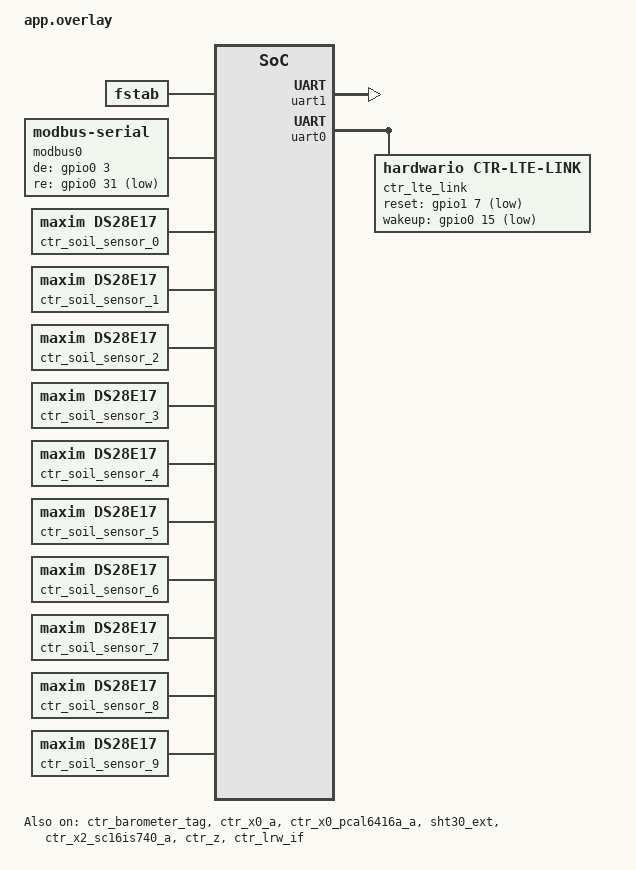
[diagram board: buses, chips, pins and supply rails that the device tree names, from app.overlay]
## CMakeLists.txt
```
#
# Copyright (c) 2024 HARDWARIO a.s.
#
# SPDX-License-Identifier: LicenseRef-HARDWARIO-5-Clause
#

cmake_minimum_required(VERSION 3.20.0)

set(ENV{FW_BUNDLE} "com.hardwario.chester.app.meteo.m")
set(ENV{FW_NAME} "CHESTER Meteo M")

# Derive firmware version from git (see scripts/version.cmake); the fallback is
# used when git is unavailable at build time.
set(FW_VERSION_FALLBACK "v3.0.2")
include(${CMAKE_CURRENT_SOURCE_DIR}/../../scripts/version.cmake)

find_package(Zephyr REQUIRED HINTS $ENV{ZEPHYR_BASE})

project(chester-meteo-m)

include(${ZEPHYR_CHESTER_MODULE_DIR}/scripts/app_codec.cmake)

target_sources(app PRIVATE src/app_cbor.c)
target_sources(app PRIVATE src/app_config.c)
target_sources(app PRIVATE src/app_data.c)
target_sources(app PRIVATE src/app_handler.c)
target_sources(app PRIVATE src/app_init.c)
target_sources(app PRIVATE src/app_lrw.c)
target_sources(app PRIVATE src/app_modbus.c)
target_sources(app PRIVATE src/app_send.c)
target_sources(app PRIVATE src/app_sensor.c)
target_sources(app PRIVATE src/app_shell.c)
target_sources(app PRIVATE src/app_work.c)
target_sources(app PRIVATE src/main.c)

target_precompile_headers(app PRIVATE src/feature.h)

# ### Preserved code "cmake" (begin)
# ^^^ Preserved code "cmake" (end)
```

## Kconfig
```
#
# Copyright (c) 2024 HARDWARIO a.s.
#
# SPDX-License-Identifier: LicenseRef-HARDWARIO-5-Clause
#

menu "Application"

# HARDWARE-CHESTER-BAROMETER-TAG
config SHIELD_CTR_BAROMETER_TAG
	bool "Enable SHIELD_CTR_BAROMETER_TAG"
	default y

config I2C
	default y

config SENSOR
	default y

config MPL3115A2
	default y
# HARDWARE-CHESTER-METEO-A
config SHIELD_CTR_A
	bool "Enable SHIELD_CTR_METEO_A"
	default y

config SHIELD_CTR_X0_A
	bool "Enable SHIELD_CTR_X0_A"
	default y

config CTR_METEO
	default y

config CTR_X0
	default y
# HARDWARE-CHESTER-S2
config SHIELD_CTR_S2
	bool "Enable SHIELD_CTR_S2"
	default y

config CTR_HYGRO
	default y
# HARDWARE-CHESTER-X2-MODBUS-A
config SHIELD_CTR_X2_MODBUS_A
	bool "Enable SHIELD_X2_MODBUS_A"
	default y

config GPIO
	default y

config I2C
	default y

config MODBUS
	default y

config MODBUS_BUFFER_SIZE
	default 64

config PM_DEVICE
	default y

config SERIAL
	default y

config UART_0_INTERRUPT_DRIVEN
	default n

config UART_ASYNC_API
	default y

config UART_INTERRUPT_DRIVEN
	default y

config UART_LINE_CTRL
	default n

config UART_SC16IS7XX
	default y

config I2C
	default y
# HARDWARE-CHESTER-Z
config SHIELD_CTR_Z
	bool "Enable SHIELD_CTR_Z"
	default y

config CTR_Z
	default y

config I2C
	default y
# SUBSYSTEM-DS18B20
config SHIELD_CTR_DS18B20
	bool "Enable SHIELD_CTR_DS18B20"
	default y

config CTR_DS18B20
	default y
# SUBSYSTEM-LRW
config SHIELD_CTR_LRW
	bool "Enable SHIELD_CTR_LRW"
	default y

config CTR_LRW
	default y
# SUBSYSTEM-LTE-V2
config SHIELD_CTR_LTE_V2
	bool "Enable SHIELD_CTR_LTE_V2"
	default y

config CTR_LTE_V2
	default y
# SUBSYSTEM-SOIL-SENSOR
config SHIELD_CTR_SOIL_SENSOR
	bool "Enable SHIELD_CTR_SOIL_SENSOR"
	default y

config CTR_SOIL_SENSOR
	default y

# ### Preserved code "k_config" (begin)

config APP_PYRANOMETER
	bool "Enable 0-10 V pyranometer on analog input B0"
	select CTR_ADC

# ^^^ Preserved code "k_config" (end)

rsource "Kconfig.variant"

endmenu

menu "Zephyr Kernel"
source "Kconfig.zephyr"
endmenu
```

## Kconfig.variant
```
#
# Copyright (c) 2024 HARDWARIO a.s.
#
# SPDX-License-Identifier: LicenseRef-HARDWARIO-5-Clause
#

config VARIANT_CHESTER_METEO_M
    bool "Enable VARIANT_CHESTER_METEO_M"
    default y
        
```

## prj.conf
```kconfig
#
# Copyright (c) 2024 HARDWARIO a.s.
#
# SPDX-License-Identifier: LicenseRef-HARDWARIO-5-Clause
#

# Configurations
# SUBSYSTEM-ACCEL
CONFIG_CTR_ACCEL=y
# SUBSYSTEM-BATT
CONFIG_CTR_BATT=y
# SUBSYSTEM-BLE-TAG
CONFIG_CTR_BLE_TAG=y
# SUBSYSTEM-BLUETOOTH
CONFIG_CTR_BLE=y
# SUBSYSTEM-BT-FILTER-ACCEPT-LIST
CONFIG_BT_FILTER_ACCEPT_LIST=y
# SUBSYSTEM-BT-OBSERVER
CONFIG_BT_OBSERVER=y
# SUBSYSTEM-BUF
CONFIG_CTR_BUF=y
# SUBSYSTEM-BUTTON
CONFIG_CTR_BUTTON=y
# SUBSYSTEM-CBPRINTF-FP-SUPPORT
CONFIG_CBPRINTF_FP_SUPPORT=y
# SUBSYSTEM-CLOUD
CONFIG_CTR_CLOUD=y
CONFIG_SETTINGS_SHELL=y
CONFIG_IMG_MANAGER=y
CONFIG_BOOTLOADER_MCUBOOT=y
CONFIG_SPI=y
CONFIG_DFU_TARGET=y
CONFIG_DFU_TARGET_STREAM=y
CONFIG_DFU_TARGET_MCUBOOT=y
CONFIG_DFU_TARGET_LOG_LEVEL_DBG=y
CONFIG_STREAM_FLASH_ERASE=y
CONFIG_STREAM_FLASH=y
CONFIG_FILE_SYSTEM=y
CONFIG_FILE_SYSTEM_LITTLEFS=y
CONFIG_FILE_SYSTEM_MKFS=y
CONFIG_FILE_SYSTEM_SHELL=y
CONFIG_SETTINGS_FILE=y
CONFIG_SETTINGS_FILE_PATH="/lfs1/settings/run"
# SUBSYSTEM-DEFAULTS
CONFIG_CTR_DEFAULTS=y
# SUBSYSTEM-DS18B20
CONFIG_CTR_DS18B20=y
# SUBSYSTEM-ENTROPY-GENERATOR
CONFIG_ENTROPY_GENERATOR=y
# SUBSYSTEM-FLASH
CONFIG_CTR_FLASH=y
# SUBSYSTEM-INFO
CONFIG_CTR_INFO=y
# SUBSYSTEM-LED
CONFIG_CTR_LED=y
# SUBSYSTEM-LOG
CONFIG_CTR_LOG=y
# SUBSYSTEM-LRW
CONFIG_CTR_LRW=y
# SUBSYSTEM-LTE-V2
CONFIG_CTR_LTE_V2=y
# SUBSYSTEM-POWER
CONFIG_CTR_POWER=y
# SUBSYSTEM-RTC
CONFIG_CTR_RTC=y
# SUBSYSTEM-SHELL
CONFIG_CTR_SHELL=y
# SUBSYSTEM-SOIL-SENSOR
CONFIG_CTR_SOIL_SENSOR=y
# SUBSYSTEM-THERM
CONFIG_CTR_THERM=y
# SUBSYSTEM-WDOG
CONFIG_CTR_WDOG=y
# SUBSYSTEM-ZCBOR
CONFIG_ZCBOR=y
CONFIG_ZCBOR_STOP_ON_ERROR=y
# Extra configurations
CONFIG_GPIO_SHELL=y
CONFIG_I2C_SHELL=y
CONFIG_ISR_TABLES_LOCAL_DECLARATION=y
CONFIG_LTO=y
CONFIG_MCUBOOT_SHELL=y
CONFIG_MODBUS_SERIAL=y

# ### Preserved code "config" (begin)
CONFIG_BUILD_OUTPUT_META=y
CONFIG_BUILD_OUTPUT_META_STATE_PROPAGATE=y
CONFIG_CTR_GPIO=y
CONFIG_CTR_CLOUD_SPOOL=y
# ^^^ Preserved code "config" (end)
```

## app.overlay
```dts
/*
 * Copyright (c) 2024 HARDWARIO a.s.
 *
 * SPDX-License-Identifier: LicenseRef-HARDWARIO-5-Clause
 */

/* HARDWARE-CHESTER-BAROMETER-TAG   */
&ctr_barometer_tag {
	status = "okay";
};
/* HARDWARE-CHESTER-METEO-A  */
&ctr_x0_a {
	status = "okay";

	ctr_meteo_a: ctr_meteo_a {
		compatible = "hardwario,ctr-meteo";
		slot = "A";
		status = "okay";
	};
};

&ctr_x0_pcal6416a_a {
	status = "okay";
};
/* HARDWARE-CHESTER-S2  */
&sht30_ext {
	status = "okay";
};
/* HARDWARE-CHESTER-X2-MODBUS-A  */
&ctr_x2_sc16is740_a {
	status = "okay";
	rts-control;

	modbus0 {
		compatible = "zephyr,modbus-serial";
		status = "okay";
		de-gpios = <&gpio0 3 GPIO_ACTIVE_HIGH>;
		re-gpios = <&gpio0 31 GPIO_ACTIVE_LOW>;
	};
};
/* HARDWARE-CHESTER-Z  */
&ctr_z {
	status = "okay";
};
/* SUBSYSTEM-CLOUD  */
/ {
	fstab {
		compatible = "zephyr,fstab";
		lfs1: lfs1 {
			compatible = "zephyr,fstab,littlefs";
			mount-point = "/lfs1";
			partition = <&littlefs_storage>;
			automount;
			read-size = <16>;
			prog-size = <16>;
			cache-size = <64>;
			lookahead-size = <32>;
			block-cycles = <512>;
		};
	};
};
/* SUBSYSTEM-DS18B20  */
&ds2484 {
	ds18b20_0: ds18b20_0 {
		compatible = "maxim,ds18b20";
		resolution = <12>;
		family-code = <0x28>;
	};

	ds18b20_1: ds18b20_1 {
		compatible = "maxim,ds18b20";
		resolution = <12>;
		family-code = <0x28>;
	};

	ds18b20_2: ds18b20_2 {
		compatible = "maxim,ds18b20";
		resolution = <12>;
		family-code = <0x28>;
	};

	ds18b20_3: ds18b20_3 {
		compatible = "maxim,ds18b20";
		resolution = <12>;
		family-code = <0x28>;
	};

	ds18b20_4: ds18b20_4 {
		compatible = "maxim,ds18b20";
		resolution = <12>;
		family-code = <0x28>;
	};

	ds18b20_5: ds18b20_5 {
		compatible = "maxim,ds18b20";
		resolution = <12>;
		family-code = <0x28>;
	};

	ds18b20_6: ds18b20_6 {
		compatible = "maxim,ds18b20";
		resolution = <12>;
		family-code = <0x28>;
	};

	ds18b20_7: ds18b20_7 {
		compatible = "maxim,ds18b20";
		resolution = <12>;
		family-code = <0x28>;
	};

	ds18b20_8: ds18b20_8 {
		compatible = "maxim,ds18b20";
		resolution = <12>;
		family-code = <0x28>;
	};

	ds18b20_9: ds18b20_9 {
		compatible = "maxim,ds18b20";
		resolution = <12>;
		family-code = <0x28>;
	};
};
/* SUBSYSTEM-LRW   */
&ctr_lrw_if {
	status = "okay";
};

&uart1 {
	status = "okay";
};
/* SUBSYSTEM-LTE-V2  */
/ {
	chosen {
		ctr,lte_link = &ctr_lte_link;
	};
};

&uart0 {
	status = "okay";

	ctr_lte_link: ctr_lte_link {
		compatible = "hardwario,ctr-lte-link";
		status = "okay";
		reset-gpios = <&gpio1 7 (GPIO_ACTIVE_LOW | GPIO_OPEN_DRAIN)>;
		wakeup-gpios = <&gpio0 15 (GPIO_ACTIVE_LOW | GPIO_OPEN_DRAIN)>;
	};
};

&uart0 {
	status = "okay";
};
/* SUBSYSTEM-SOIL-SENSOR  */
&ds2484 {
	ctr_soil_sensor_0: ctr_soil_sensor_0 {
		compatible = "maxim,ds28e17";
		family-code = <0x19>;
	};
	ctr_soil_sensor_1: ctr_soil_sensor_1 {
		compatible = "maxim,ds28e17";
		family-code = <0x19>;
	};
	ctr_soil_sensor_2: ctr_soil_sensor_2 {
		compatible = "maxim,ds28e17";
		family-code = <0x19>;
	};
	ctr_soil_sensor_3: ctr_soil_sensor_3 {
		compatible = "maxim,ds28e17";
		family-code = <0x19>;
	};
	ctr_soil_sensor_4: ctr_soil_sensor_4 {
		compatible = "maxim,ds28e17";
		family-code = <0x19>;
	};
	ctr_soil_sensor_5: ctr_soil_sensor_5 {
		compatible = "maxim,ds28e17";
		family-code = <0x19>;
	};
	ctr_soil_sensor_6: ctr_soil_sensor_6 {
		compatible = "maxim,ds28e17";
		family-code = <0x19>;
	};
	ctr_soil_sensor_7: ctr_soil_sensor_7 {
		compatible = "maxim,ds28e17";
		family-code = <0x19>;
	};
	ctr_soil_sensor_8: ctr_soil_sensor_8 {
		compatible = "maxim,ds28e17";
		family-code = <0x19>;
	};
	ctr_soil_sensor_9: ctr_soil_sensor_9 {
		compatible = "maxim,ds28e17";
		family-code = <0x19>;
	};
};

/* ### Preserved code "overlay" (begin) */
/* ^^^ Preserved code "overlay" (end) */
```

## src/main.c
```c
/*
 * Copyright (c) 2024 HARDWARIO a.s.
 *
 * SPDX-License-Identifier: LicenseRef-HARDWARIO-5-Clause
 */

#include "app_init.h"
#include "app_config.h"

/* CHESTER includes */
#include <chester/ctr_led.h>
#include <chester/ctr_wdog.h>

/* Zephyr includes */
#include <zephyr/kernel.h>
#include <zephyr/logging/log.h>

/* Standard includes */
#include <stdbool.h>

LOG_MODULE_REGISTER(main, LOG_LEVEL_DBG);

extern struct ctr_wdog_channel g_app_wdog_channel;

int main(void)
{
	int ret;

	LOG_INF("Build time: " __DATE__ " " __TIME__);

	ret = app_init();
	if (ret) {
		LOG_ERR("Call `app_init` failed: %d", ret);
		k_oops();
	}

	for (;;) {
		LOG_INF("Alive");

		ret = ctr_wdog_feed(&g_app_wdog_channel);
		if (ret) {
			LOG_ERR("Call `ctr_wdog_feed` failed: %d", ret);
			k_oops();
		}

		if (g_app_config.mode == APP_CONFIG_MODE_NONE) {
			ctr_led_set(CTR_LED_CHANNEL_Y, true);
			k_sleep(K_MSEC(30));
			ctr_led_set(CTR_LED_CHANNEL_Y, false);
		} else {
			ctr_led_set(CTR_LED_CHANNEL_G, true);
			k_sleep(K_MSEC(30));
			ctr_led_set(CTR_LED_CHANNEL_G, false);
		}

		k_sleep(K_SECONDS(5));
	}

	return 0;
}
```

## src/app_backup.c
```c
/*
 * Copyright (c) 2024 HARDWARIO a.s.
 *
 * SPDX-License-Identifier: LicenseRef-HARDWARIO-5-Clause
 */

#include "app_backup.h"
#include "app_config.h"
#include "app_data.h"
#include "app_work.h"
#include "feature.h"

/* CHESTER includes */
#include <chester/ctr_rtc.h>
#include <chester/drivers/ctr_z.h>
#include <chester/drivers/ctr_x10.h>

/* Zephyr includes */
#include <zephyr/device.h>
#include <zephyr/devicetree.h>
#include <zephyr/kernel.h>
#include <zephyr/logging/log.h>

/* Standard includes */
#include <errno.h>
#include <math.h>
#include <stdbool.h>

LOG_MODULE_REGISTER(app_backup, LOG_LEVEL_DBG);

#if defined(FEATURE_HARDWARE_CHESTER_Z)

void handler_ctr_z(const struct device *dev, enum ctr_z_event backup_event, void *param)
{
	int ret;

	if (backup_event != CTR_Z_EVENT_DC_CONNECTED &&
	    backup_event != CTR_Z_EVENT_DC_DISCONNECTED) {
		return;
	}

	struct app_data_backup *backup = &g_app_data.backup;

	app_work_backup_update();

	app_data_lock();

	backup->line_present = backup_event == CTR_Z_EVENT_DC_CONNECTED;

	if (backup->event_count < APP_DATA_MAX_BACKUP_EVENTS) {
		struct app_data_backup_event *event = &backup->events[backup->event_count];

		ret = ctr_rtc_get_ts(&event->timestamp);
		if (ret) {
			LOG_ERR("Call `ctr_rtc_get_ts` failed: %d", ret);
			app_data_unlock();
			return;
		}

		event->connected = backup->line_present;
		backup->event_count++;

		LOG_INF("Event count: %d", backup->event_count);
	} else {
		LOG_WRN("Measurement full");
		app_data_unlock();
		return;
	}

	LOG_INF("Backup: %d", (int)backup->line_present);

	if (g_app_config.backup_report_connected && backup_event == CTR_Z_EVENT_DC_CONNECTED) {
		app_work_send_with_rate_limit();
	}

	if (g_app_config.backup_report_disconnected &&
	    backup_event == CTR_Z_EVENT_DC_DISCONNECTED) {
		app_work_send_with_rate_limit();
	}

	app_data_unlock();
}

int app_backup_init(void)
{
	int ret;

	static const struct device *dev = DEVICE_DT_GET(DT_NODELABEL(ctr_z));

	if (!device_is_ready(dev)) {
		LOG_ERR("Device not ready");
		return -ENODEV;
	}

	ret = ctr_z_set_handler(dev, handler_ctr_z, NULL);
	if (ret) {
		LOG_ERR("Call `ctr_z_set_handler` failed: %d", ret);
		return ret;
	}

	ret = ctr_z_enable_interrupts(dev);
	if (ret) {
		LOG_ERR("Call `ctr_z_enable_interrupts` failed: %d", ret);
		return ret;
	}

	uint32_t serial_number;
	ret = ctr_z_get_serial_number(dev, &serial_number);
	if (ret) {
		LOG_ERR("Call `ctr_z_get_serial_number` failed: %d", ret);
		return ret;
	}

	LOG_INF("Serial number: %08x", serial_number);

	uint16_t hw_revision;
	ret = ctr_z_get_hw_revision(dev, &hw_revision);
	if (ret) {
		LOG_ERR("Call `ctr_z_get_hw_revision` failed: %d", ret);
		return ret;
	}

	LOG_INF("HW revision: %04x", hw_revision);

	uint32_t hw_variant;
	ret = ctr_z_get_hw_variant(dev, &hw_variant);
	if (ret) {
		LOG_ERR("Call `ctr_z_get_hw_variant` failed: %d", ret);
		return ret;
	}

	LOG_INF("HW variant: %08x", hw_variant);

	uint32_t fw_version;
	ret = ctr_z_get_fw_version(dev, &fw_version);
	if (ret) {
		LOG_ERR("Call `ctr_z_get_fw_version` failed: %d", ret);
		return ret;
	}

	LOG_INF("FW version: %08x", fw_version);

	char vendor_name[32];
	ret = ctr_z_get_vendor_name(dev, vendor_name, sizeof(vendor_name));
	if (ret) {
		LOG_ERR("Call `ctr_z_get_vendor_name` failed: %d", ret);
		return ret;
	}

	LOG_INF("Vendor name: %s", vendor_name);

	char product_name[32];
	ret = ctr_z_get_product_name(dev, product_name, sizeof(product_name));
	if (ret) {
		LOG_ERR("Call `ctr_z_get_product_name` failed: %d", ret);
		return ret;
	}

	LOG_INF("Product name: %s", product_name);

	return 0;
}

int app_backup_sample(void)
{
	int ret;

	static const struct device *dev = DEVICE_DT_GET(DT_NODELABEL(ctr_z));

	if (!device_is_ready(dev)) {
		LOG_ERR("Device not ready");
		ret = -ENODEV;
		goto error;
	}

	struct ctr_z_status status;
	ret = ctr_z_get_status(dev, &status);
	if (ret) {
		LOG_ERR("Call `ctr_z_get_status` failed: %d", ret);
		goto error;
	}

	LOG_INF("DC input connected: %d", status.dc_input_connected);

	uint16_t vdc;
	ret = ctr_z_get_vdc_mv(dev, &vdc);
	if (ret) {
		LOG_ERR("Call `ctr_z_get_vdc_mv` failed: %d", ret);
		goto error;
	}

	LOG_INF("Voltage DC input: %u mV", vdc);

	uint16_t vbat;
	ret = ctr_z_get_vbat_mv(dev, &vbat);
	if (ret) {
		LOG_ERR("Call `ctr_z_get_vbat_mv` failed: %d", ret);
		goto error;
	}

	LOG_INF("Voltage backup battery: %u mV", vbat);

	app_data_lock();
	g_app_data.backup.line_present = status.dc_input_connected;
	g_app_data.backup.line_voltage = vdc / 1000.f;
	g_app_data.backup.battery_voltage = vbat / 1000.f;
	app_data_unlock();

	return 0;

error:
	app_data_lock();
	g_app_data.backup.line_present = false;
	g_app_data.backup.line_voltage = NAN;
	g_app_data.backup.battery_voltage = NAN;
	app_data_unlock();

	return ret;
}

#endif /* defined(FEATURE_HARDWARE_CHESTER_Z) */

#if defined(FEATURE_HARDWARE_CHESTER_X10)

static void handler_ctr_x10(const struct device *dev, enum ctr_x10_event backup_event,
			    void *user_data)
{
	int ret;

	if (backup_event != CTR_X10_EVENT_LINE_CONNECTED &&
	    backup_event != CTR_X10_EVENT_LINE_DISCONNECTED) {
		return;
	}

	struct app_data_backup *backup = &g_app_data.backup;

	app_work_backup_update();

	app_data_lock();

	backup->line_present = backup_event == CTR_X10_EVENT_LINE_CONNECTED;

	if (backup->event_count < APP_DATA_MAX_BACKUP_EVENTS) {
		struct app_data_backup_event *event = &backup->events[backup->event_count];

		ret = ctr_rtc_get_ts(&event->timestamp);
		if (ret) {
			LOG_ERR("Call `ctr_rtc_get_ts` failed: %d", ret);
			app_data_unlock();
			return;
		}

		event->connected = backup->line_present;
		backup->event_count++;

		LOG_INF("Event count: %d", backup->event_count);
	} else {
		LOG_WRN("Measurement full");
		app_data_unlock();
		return;
	}

	LOG_INF("Backup: %d", (int)backup->line_present);

	if (g_app_config.backup_report_connected && backup_event == CTR_X10_EVENT_LINE_CONNECTED) {
		app_work_send_with_rate_limit();
	}

	if (g_app_config.backup_report_disconnected &&
	    backup_event == CTR_X10_EVENT_LINE_DISCONNECTED) {
		app_work_send_with_rate_limit();
	}

	app_data_unlock();
}

int app_backup_init(void)
{
	int ret;

	static const struct device *dev = DEVICE_DT_GET(DT_NODELABEL(ctr_x10));

	if (!device_is_ready(dev)) {
		LOG_ERR("Device not ready");
		return -ENODEV;
	}

	ret = ctr_x10_set_handler(dev, handler_ctr_x10, NULL);
	if (ret) {
		LOG_ERR("Call `ctr_z_set_handler` failed: %d", ret);
		return ret;
	}

	return 0;
}

int app_backup_sample(void)
{
	int ret;

	static const struct device *dev = DEVICE_DT_GET(DT_NODELABEL(ctr_x10));

	if (!device_is_ready(dev)) {
		LOG_ERR("Device not ready");
		ret = -ENODEV;
		goto error;
	}

	bool dc_input_connected;
	ret = ctr_x10_get_line_present(dev, &dc_input_connected);
	if (ret) {
		LOG_ERR("Call `ctr_x10_get_line_present` failed: %d", ret);
	} else {
		LOG_INF("Line present: %d", dc_input_connected);
	}

	int line_voltage_mv;
	ret = ctr_x10_get_line_voltage(dev, &line_voltage_mv);
	if (ret) {
		LOG_ERR("Call `ctr_x10_get_line_voltage` failed: %d", ret);
		goto error;
	} else {
		LOG_INF("Line voltage: %d mv", line_voltage_mv);
	}

	int battery_voltage_mv;
	ret = ctr_x10_get_battery_voltage(dev, &battery_voltage_mv);
	if (ret) {
		LOG_ERR("Call `ctr_x10_get_battery_voltage` failed: %d", ret);
		goto error;
	} else {
		LOG_INF("Battery voltage: %d mv", battery_voltage_mv);
	}

	app_data_lock();
	g_app_data.backup.line_present = dc_input_connected;
	g_app_data.backup.line_voltage = line_voltage_mv / 1000.f;
	g_app_data.backup.battery_voltage = battery_voltage_mv / 1000.f;
	app_data_unlock();

	return 0;

error:
	app_data_lock();
	g_app_data.backup.line_present = false;
	g_app_data.backup.line_voltage = NAN;
	g_app_data.backup.battery_voltage = NAN;
	app_data_unlock();

	return ret;
}

#endif /* defined(FEATURE_HARDWARE_CHESTER_X10) */

#if defined(FEATURE_HARDWARE_CHESTER_Z) || defined(FEATURE_HARDWARE_CHESTER_X10)

int app_backup_clear(void)
{
	app_data_lock();
	g_app_data.backup.event_count = 0;
	app_data_unlock();

	return 0;
}

#endif /* defined(FEATURE_HARDWARE_CHESTER_Z) || defined(FEATURE_HARDWARE_CHESTER_X10) */
```

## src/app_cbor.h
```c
/*
 * Copyright (c) 2024 HARDWARIO a.s.
 *
 * SPDX-License-Identifier: LicenseRef-HARDWARIO-5-Clause
 */

#ifndef APP_CBOR_H_
#define APP_CBOR_H_

/* Zephyr includes */
#include <zephyr/kernel.h>

#include <zcbor_common.h>

#ifdef __cplusplus
extern "C" {
#endif

int app_cbor_encode(zcbor_state_t *zs);

#ifdef __cplusplus
}
#endif

#endif /* APP_CBOR_H_ */
```

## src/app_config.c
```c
/*
 * Copyright (c) 2024 HARDWARIO a.s.
 *
 * SPDX-License-Identifier: LicenseRef-HARDWARIO-5-Clause
 */

#include "app_config.h"

/* CHESTER includes */
#include <chester/ctr_config.h>

/* Zephyr includes */
#include <zephyr/init.h>
#include <zephyr/kernel.h>
#include <zephyr/logging/log.h>
#include <zephyr/settings/settings.h>
#include <zephyr/shell/shell.h>

/* Standard includes */
#include <stdbool.h>
#include <stdio.h>
#include <stdlib.h>
#include <string.h>

/* ### Preserved code "includes" (begin) */
/* ^^^ Preserved code "includes" (end) */

LOG_MODULE_REGISTER(app_config, LOG_LEVEL_DBG);

#define SETTINGS_PFX "app-meteo"

struct app_config g_app_config;

static struct app_config m_config_interim;

/* clang-format off */
const struct ctr_config_item items[] = {
	CTR_CONFIG_ITEM_INT("interval-sample", m_config_interim.interval_sample, 1, 86400, "Get/Set sample interval in seconds.", 60),
	CTR_CONFIG_ITEM_INT("interval-aggreg", m_config_interim.interval_aggreg, 1, 86400, "Get/Set aggregate interval in seconds.", 300),
	CTR_CONFIG_ITEM_INT("interval-report", m_config_interim.interval_report, 30, 86400, "Get/Set report interval in seconds.", 1800),
	CTR_CONFIG_ITEM_INT("interval-poll", m_config_interim.interval_poll, 0, 86400, "Get/Set poll interval in seconds (disabled if 0).", 0),
	CTR_CONFIG_ITEM_INT("downlink-wdg-interval", m_config_interim.downlink_wdg_interval, 0, 1209600, "Get/Set downlink watchdog interval in seconds (disabled if 0).", 129600),

#if defined(FEATURE_HARDWARE_CHESTER_S2) || defined(FEATURE_SUBSYSTEM_POWER)
	CTR_CONFIG_ITEM_INT("event-report-delay", m_config_interim.event_report_delay, 1, 86400, "Get/Set event report delay in seconds.", 1),
	CTR_CONFIG_ITEM_INT("event-report-rate", m_config_interim.event_report_rate, 1, 3600, "Get/Set event report rate in reports per hour.", 30),
#endif /* defined(FEATURE_HARDWARE_CHESTER_S2) || defined(FEATURE_SUBSYSTEM_POWER) */

#if defined(FEATURE_HARDWARE_CHESTER_S2)
	CTR_CONFIG_ITEM_BOOL("hygro_t_alarm_hi_report", m_config_interim.hygro_t_alarm_hi_report, "Enable/Disable high temperature alarm.", false),
	CTR_CONFIG_ITEM_BOOL("hygro_t_alarm_lo_report", m_config_interim.hygro_t_alarm_lo_report, "Enable/Disable low temperature alarm.", false),
	CTR_CONFIG_ITEM_FLOAT("hygro_t_alarm_hi_thr", m_config_interim.hygro_t_alarm_hi_thr, -40.0f, 125.0f, "Get/Set high temperature alarm threshold.", 0.0f),
	CTR_CONFIG_ITEM_FLOAT("hygro_t_alarm_hi_hst", m_config_interim.hygro_t_alarm_hi_hst, 0.0f, 100.0f, "Get/Set high temperature alarm hysteresis.", 0.0f),
	CTR_CONFIG_ITEM_FLOAT("hygro_t_alarm_lo_thr", m_config_interim.hygro_t_alarm_lo_thr, -40.0f, 125.0f, "Get/Set low temperature alarm threshold.", 0.0f),
	CTR_CONFIG_ITEM_FLOAT("hygro_t_alarm_lo_hst", m_config_interim.hygro_t_alarm_lo_hst, 0.0f, 100.0f, "Get/Set low temperature alarm hysteresis.", 0.0f),
#endif /* defined(FEATURE_HARDWARE_CHESTER_S2) */

	CTR_CONFIG_ITEM_ENUM("mode", m_config_interim.mode, ((const char*[]){"none", "lte", "lrw"}), "Set communication mode", APP_CONFIG_MODE_NONE),

	/* ### Preserved code "config" (begin) */
        CTR_CONFIG_ITEM_ENUM("meteo-type", m_config_interim.meteo_type, ((const char*[]){"none", "lambrecht", "sensecap-s1000", "sensecap-s500"}), "Set connected meteo station type.", APP_CONFIG_METEO_NONE),
        CTR_CONFIG_ITEM_ENUM("pm-type", m_config_interim.pm_type, ((const char*[]){"none", "cubic-6303"}), "Set connected PM sensor type.", APP_CONFIG_PM_NONE),
        CTR_CONFIG_ITEM_INT("meteo-addr", m_config_interim.meteo_addr, 1, 247, "Set Modbus address of meteo station.", 1),
        CTR_CONFIG_ITEM_INT("pm-addr", m_config_interim.pm_addr, 1, 247, "Set Modbus address of PM sensor.", 1),


	CTR_CONFIG_ITEM_INT("modbus-baud", m_config_interim.modbus_baud, 1200, 19200, "Get/Set modbus baud rate.", 9600),
        CTR_CONFIG_ITEM_INT("modbus-addr", m_config_interim.modbus_addr, 1, 247, "Get/Set modbus slave address.", 1),
        CTR_CONFIG_ITEM_ENUM("modbus-parity", m_config_interim.modbus_parity, ((const char*[]){"none", "odd", "even", "mark", "space"}), "Get/Set modbus parity", APP_CONFIG_MODBUS_PARITY_NONE),
        CTR_CONFIG_ITEM_ENUM("modbus-stop-bits", m_config_interim.modbus_stop_bits, ((const char*[]){"0_5", "1", "1_5", "2"}), "Get/Set modbus stop bits", APP_CONFIG_MODBUS_STOP_BITS_1),
        /* ^^^ Preserved code "config" (end) */

};
/* clang-format on */

/* ### Preserved code "function" (begin) */
/* ^^^ Preserved code "function" (end) */

int app_config_cmd_config_show(const struct shell *shell, size_t argc, char **argv)
{
	/* ### Preserved code "app_config_cmd_config_show start" (begin) */
	/* ^^^ Preserved code "app_config_cmd_config_show start" (end) */

	for (int i = 0; i < ARRAY_SIZE(items); i++) {
		ctr_config_show_item(shell, &items[i]);
	}

	/* ### Preserved code "app_config_cmd_config_show end" (begin) */
	/* ^^^ Preserved code "app_config_cmd_config_show end" (end) */

	return 0;
}

int app_config_cmd_config(const struct shell *shell, size_t argc, char **argv)
{
	/* ### Preserved code "app_config_cmd_config" (begin) */
	/* ^^^ Preserved code "app_config_cmd_config" (end) */
	return ctr_config_cmd_config(items, ARRAY_SIZE(items), shell, argc, argv);
}

static int h_set(const char *key, size_t len, settings_read_cb read_cb, void *cb_arg)
{
	/* ### Preserved code "h_set" (begin) */
	/* ^^^ Preserved code "h_set" (end) */

	return ctr_config_h_set(items, ARRAY_SIZE(items), key, len, read_cb, cb_arg);
}

static int h_commit(void)
{
	LOG_DBG("Loaded settings in full");

	/* ### Preserved code "h_commit" (begin) */
	/* ^^^ Preserved code "h_commit" (end) */

	memcpy(&g_app_config, &m_config_interim, sizeof(g_app_config));
	return 0;
}

static int h_export(int (*export_func)(const char *name, const void *val, size_t val_len))
{
	/* ### Preserved code "h_export" (begin) */
	/* ^^^ Preserved code "h_export" (end) */

	return ctr_config_h_export(items, ARRAY_SIZE(items), export_func);
}

static int init(void)
{
	int ret;

	LOG_INF("System initialization");

	for (int i = 0; i < ARRAY_SIZE(items); i++) {
		ctr_config_init_item(&items[i]);
	}

	static struct settings_handler sh = {
		.name = SETTINGS_PFX,
		.h_set = h_set,
		.h_commit = h_commit,
		.h_export = h_export,
	};

	ret = settings_register(&sh);
	if (ret) {
		LOG_ERR("Call `settings_register` failed: %d", ret);
		return ret;
	}

	ret = settings_load_subtree(SETTINGS_PFX);
	if (ret) {
		LOG_ERR("Call `settings_load_subtree` failed: %d", ret);
		return ret;
	}

	/* ### Preserved code "init" (begin) */
	/* ^^^ Preserved code "init" (end) */

	ctr_config_append_show(SETTINGS_PFX, app_config_cmd_config_show);

	return 0;
}

SYS_INIT(init, APPLICATION, CONFIG_APPLICATION_INIT_PRIORITY);
```

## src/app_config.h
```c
/*
 * Copyright (c) 2024 HARDWARIO a.s.
 *
 * SPDX-License-Identifier: LicenseRef-HARDWARIO-5-Clause
 */

#ifndef APP_CONFIG_H_
#define APP_CONFIG_H_

/* Zephyr includes */
#include <zephyr/shell/shell.h>

/* Standard includes */
#include <stdbool.h>
#include <stddef.h>

/* ### Preserved code "includes" (begin) */
enum app_config_meteo_type {
	APP_CONFIG_METEO_NONE = 0,
	APP_CONFIG_METEO_LAMBRECHT = 1,
	APP_CONFIG_METEO_SENSECAP_S1000 = 2,
	APP_CONFIG_METEO_SENSECAP_S500 = 3,
};

enum app_config_pm_type {
	APP_CONFIG_PM_NONE = 0,
	APP_CONFIG_PM_CUBIC_6303 = 1,
};

enum app_config_modbus_parity {
	APP_CONFIG_MODBUS_PARITY_NONE = 0,
	APP_CONFIG_MODBUS_PARITY_ODD = 1,
	APP_CONFIG_MODBUS_PARITY_EVEN = 2,
};

enum app_config_modbus_stop_bits {
	APP_CONFIG_MODBUS_STOP_BITS_1 = 1, // Stop bits 1
	APP_CONFIG_MODBUS_STOP_BITS_2 = 3, // Stop bits 2
};
/* ^^^ Preserved code "includes" (end) */

#ifdef __cplusplus
extern "C" {
#endif

enum app_config_mode {
	APP_CONFIG_MODE_NONE = 0,
	APP_CONFIG_MODE_LTE = 1,
	APP_CONFIG_MODE_LRW = 2,
};

struct app_config {
	int interval_sample;
	int interval_aggreg;
	int interval_report;
	int interval_poll;
	int downlink_wdg_interval;

#if defined(FEATURE_HARDWARE_CHESTER_S2) || defined(FEATURE_SUBSYSTEM_POWER)
	int event_report_delay;
	int event_report_rate;
#endif /* defined(FEATURE_HARDWARE_CHESTER_S2) || defined(FEATURE_SUBSYSTEM_POWER) */

#if defined(FEATURE_HARDWARE_CHESTER_S2)
	bool hygro_t_alarm_hi_report;
	bool hygro_t_alarm_lo_report;
	float hygro_t_alarm_hi_thr;
	float hygro_t_alarm_hi_hst;
	float hygro_t_alarm_lo_thr;
	float hygro_t_alarm_lo_hst;
#endif /* defined(FEATURE_HARDWARE_CHESTER_S2) */

	enum app_config_mode mode;

	/* ### Preserved code "struct variables" (begin) */
	enum app_config_meteo_type meteo_type;
	enum app_config_pm_type pm_type;
	int meteo_addr;
	int pm_addr;
	int modbus_baud;
	int modbus_addr;
	enum app_config_modbus_parity modbus_parity;
	enum app_config_modbus_stop_bits modbus_stop_bits;
	/* ^^^ Preserved code "struct variables" (end) */
};

extern struct app_config g_app_config;

int app_config_cmd_config_show(const struct shell *shell, size_t argc, char **argv);
int app_config_cmd_config_mode(const struct shell *shell, size_t argc, char **argv);

int app_config_cmd_config(const struct shell *shell, size_t argc, char **argv);

/* ### Preserved code "functions" (begin) */
/* ^^^ Preserved code "functions" (end) */

#ifdef __cplusplus
}
#endif

#endif /* APP_CONFIG_H_ */
```

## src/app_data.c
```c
/*
 * Copyright (c) 2024 HARDWARIO a.s.
 *
 * SPDX-License-Identifier: LicenseRef-HARDWARIO-5-Clause
 */

#include "app_data.h"

/* CHESTER includes */
#include <chester/ctr_lte.h>
#include <chester/application/ctr_data.h>

/* Zephyr includes */
#include <zephyr/kernel.h>

/* Standard includes */
#include <limits.h>
#include <math.h>
#include <stdbool.h>

/*
 * Keep `g_app_data` zero-initialized so it is placed in `.bss` (RAM only).
 * Non-zero initializers (NAN, INT_MAX) would move the whole structure to
 * `.data`, which occupies the same amount of FLASH and is copied on boot.
 * Non-zero defaults are set at runtime in `app_data_init()` instead.
 */
struct app_data g_app_data;

static K_MUTEX_DEFINE(m_lock);

int app_data_init(void)
{
	app_data_lock();

	g_app_data.accel_acceleration_x = NAN;
	g_app_data.accel_acceleration_y = NAN;
	g_app_data.accel_acceleration_z = NAN;
	g_app_data.accel_orientation = INT_MAX;
	g_app_data.therm_temperature = NAN;

#if defined(FEATURE_SUBSYSTEM_BLE_TAG)
	for (int i = 0; i < CTR_BLE_TAG_COUNT; i++) {
		g_app_data.ble_tag.sensor[i].last_sample_temperature = NAN;
		g_app_data.ble_tag.sensor[i].last_sample_humidity = NAN;
	}
#endif /* defined(FEATURE_SUBSYSTEM_BLE_TAG) */

#if defined(FEATURE_SUBSYSTEM_SOIL_SENSOR)
	for (int i = 0; i < APP_DATA_SOIL_SENSOR_COUNT; i++) {
		g_app_data.soil_sensor.sensor[i].last_temperature = NAN;
		g_app_data.soil_sensor.sensor[i].last_moisture = NAN;
	}
#endif /* defined(FEATURE_SUBSYSTEM_SOIL_SENSOR) */

	app_data_unlock();

	return 0;
}

void app_data_lock(void)
{
	k_mutex_lock(&m_lock, K_FOREVER);
}

void app_data_unlock(void)
{
	k_mutex_unlock(&m_lock);
}
void app_data_add_sample_float(struct ctr_data_aggreg *aggreg_ptr, int sample_count, float sample)
{

	int count = sample_count;

	if (count == 0) {

		aggreg_ptr->min = sample;
		aggreg_ptr->max = sample;
		aggreg_ptr->avg = sample;
		aggreg_ptr->mdn = NAN;
	} else {

		if (sample < aggreg_ptr->min) {
			aggreg_ptr->min = sample;
		}
		if (sample > aggreg_ptr->max) {
			aggreg_ptr->max = sample;
		}

		float old_avg = aggreg_ptr->avg;
		float new_avg = (old_avg * (float)count + sample) / (float)(count + 1);
		aggreg_ptr->avg = new_avg;
	}
}
```

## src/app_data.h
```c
/*
 * Copyright (c) 2024 HARDWARIO a.s.
 *
 * SPDX-License-Identifier: LicenseRef-HARDWARIO-5-Clause
 */

#ifndef APP_DATA_H_
#define APP_DATA_H_

#include "feature.h"

/* CHESTER includes */
#include <chester/ctr_ble_tag.h>
#include <chester/application/ctr_data.h>

/* Standard includes */
#include <stdbool.h>
#include <stdint.h>

/* TODO Delete */
#include <zephyr/kernel.h>

#define APP_DATA_MAX_MEASUREMENTS  32
#define APP_DATA_MAX_SAMPLES       32
#define APP_DATA_MAX_HYGRO_EVENTS  32

#define APP_DATA_W1_THERM_COUNT    10
#define APP_DATA_SOIL_SENSOR_COUNT 10

#if defined(FEATURE_SUBSYSTEM_BLE_TAG)
#define APP_DATA_MAX_BLE_TAG_SAMPLES      16
#define APP_DATA_MAX_BLE_TAG_MEASUREMENTS 16
#endif /* defined(FEATURE_SUBSYSTEM_BLE_TAG) */

#ifdef __cplusplus
extern "C" {
#endif

#if defined(FEATURE_HARDWARE_CHESTER_METEO_M)
struct app_data_sensecap {
	int sample_count;
	float air_temperature_samples[APP_DATA_MAX_SAMPLES];
	float air_humidity_samples[APP_DATA_MAX_SAMPLES];
	float barometric_pressure_samples[APP_DATA_MAX_SAMPLES];
	float light_intensity_samples[APP_DATA_MAX_SAMPLES];
	float wind_direction_avg_samples[APP_DATA_MAX_SAMPLES];
	float wind_speed_avg_samples[APP_DATA_MAX_SAMPLES];
	float accumulated_rainfall_samples[APP_DATA_MAX_SAMPLES];
	float pm2_5_samples[APP_DATA_MAX_SAMPLES];
	float pm10_samples[APP_DATA_MAX_SAMPLES];
	float co2_samples[APP_DATA_MAX_SAMPLES];

	int measurement_count;
	struct ctr_data_aggreg air_temperature_measurements[APP_DATA_MAX_MEASUREMENTS];
	struct ctr_data_aggreg air_humidity_measurements[APP_DATA_MAX_MEASUREMENTS];
	struct ctr_data_aggreg barometric_pressure_measurements[APP_DATA_MAX_MEASUREMENTS];
	struct ctr_data_aggreg light_intensity_measurements[APP_DATA_MAX_MEASUREMENTS];
	struct ctr_data_aggreg wind_direction_avg_measurements[APP_DATA_MAX_MEASUREMENTS];
	struct ctr_data_aggreg wind_speed_avg_measurements[APP_DATA_MAX_MEASUREMENTS];
	struct ctr_data_aggreg accumulated_rainfall_measurements[APP_DATA_MAX_MEASUREMENTS];
	struct ctr_data_aggreg pm2_5_measurements[APP_DATA_MAX_MEASUREMENTS];
	struct ctr_data_aggreg pm10_measurements[APP_DATA_MAX_MEASUREMENTS];
	struct ctr_data_aggreg co2_measurements[APP_DATA_MAX_MEASUREMENTS];

	int64_t timestamp;
};

struct app_data_cubic_pm {
	int sample_count;
	float version_samples[APP_DATA_MAX_SAMPLES];
	float tsp_samples[APP_DATA_MAX_SAMPLES];
	float pm1_0_samples[APP_DATA_MAX_SAMPLES];
	float pm2_5_samples[APP_DATA_MAX_SAMPLES];
	float pm10_samples[APP_DATA_MAX_SAMPLES];
	float gas_flow_samples[APP_DATA_MAX_SAMPLES];

	int measurement_count;
	struct ctr_data_aggreg version_measurements[APP_DATA_MAX_MEASUREMENTS];
	struct ctr_data_aggreg tsp_measurements[APP_DATA_MAX_MEASUREMENTS];
	struct ctr_data_aggreg pm1_0_measurements[APP_DATA_MAX_MEASUREMENTS];
	struct ctr_data_aggreg pm2_5_measurements[APP_DATA_MAX_MEASUREMENTS];
	struct ctr_data_aggreg pm10_measurements[APP_DATA_MAX_MEASUREMENTS];
	struct ctr_data_aggreg gas_flow_measurements[APP_DATA_MAX_MEASUREMENTS];

	int64_t timestamp;
};

struct app_data_meteo_raw {
	long long int air_temperature;
	int air_humidity;
	int barometric_pressure;
	float light_intensity;
	float minimum_wind_direction;
	float maximum_wind_direction;
	float average_wind_direction;
	float minimum_wind_speed;
	float maximum_wind_speed;
	float average_wind_speed;
	float accumulated_rainfall;
	float accumulated_rainfall_duration;
	float rain_intensity;
	float maximum_rainfall;
	float heating_temperature;
	int dumping_state;
	float pm25;
	float pm10;
	float co2;
	float noise_intensity;
	float global_solar_radiation;
	float sunshine_duration;
	float lambrecht_wind_speed;
	float lambrecht_wind_speed_avg;
	float lambrecht_wind_direction;
	float lambrecht_rainfall_total;
	float lambrecht_rainfall_intensity;
	float lambrecht_illuminance;
};
#endif /* defined(FEATURE_HARDWARE_CHESTER_X2_MODBUS_A ) ||                                        \
	  defined(FEATURE_HARDWARE_CHESTER_METEO_M) */

#if defined(FEATURE_HARDWARE_CHESTER_METEO_A) || defined(FEATURE_HARDWARE_CHESTER_METEO_B)

struct app_data_meteo_wind_speed {
	int64_t last_sample_timestamp;
	int sample_count;
	float samples[APP_DATA_MAX_SAMPLES];
	float last_sample;

	int measurement_count;
	struct ctr_data_aggreg measurements[APP_DATA_MAX_MEASUREMENTS];

	int64_t timestamp;
};

struct app_data_meteo_wind_direction {
	int sample_count;
	float samples[APP_DATA_MAX_SAMPLES];
	float last_sample;

	int measurement_count;
	float measurements[APP_DATA_MAX_MEASUREMENTS];

	int64_t timestamp;
};

struct app_data_meteo_rainfall {
	int measurement_count;
	float measurements[APP_DATA_MAX_MEASUREMENTS];
	float last_sample;

	int64_t timestamp;
};

struct app_data_meteo {
	struct app_data_meteo_wind_speed wind_speed;
	struct app_data_meteo_wind_direction wind_direction;
	struct app_data_meteo_rainfall rainfall;
};
#endif /* defined(FEATURE_HARDWARE_CHESTER_METEO_A) || defined(FEATURE_HARDWARE_CHESTER_METEO_B)   \
	*/

#if defined(FEATURE_HARDWARE_CHESTER_BAROMETER_TAG)
struct app_data_barometer_pressure {
	int sample_count;
	float samples[APP_DATA_MAX_SAMPLES];
	float last_sample;

	int measurement_count;
	struct ctr_data_aggreg measurements[APP_DATA_MAX_MEASUREMENTS];

	int64_t timestamp;
};

struct app_data_barometer {
	struct app_data_barometer_pressure pressure;
};
#endif /* defined(FEATURE_HARDWARE_CHESTER_BAROMETER_TAG) */

#if defined(FEATURE_HARDWARE_CHESTER_S2)

enum app_data_hygro_event_type {
	APP_DATA_HYGRO_EVENT_TYPE_ALARM_HI_ACTIVATED,
	APP_DATA_HYGRO_EVENT_TYPE_ALARM_HI_DEACTIVATED,
	APP_DATA_HYGRO_EVENT_TYPE_ALARM_LO_ACTIVATED,
	APP_DATA_HYGRO_EVENT_TYPE_ALARM_LO_DEACTIVATED,
};

struct app_data_hygro_event {
	int64_t timestamp;
	enum app_data_hygro_event_type type;
	float value;
};

struct app_data_hygro_measurement {
	struct ctr_data_aggreg temperature;
	struct ctr_data_aggreg humidity;
};

struct app_data_hygro {
	float last_sample_temperature;
	float last_sample_humidity;

	int event_count;
	struct app_data_hygro_event events[APP_DATA_MAX_HYGRO_EVENTS];

	bool alarm_hi_active;
	bool alarm_lo_active;

	int sample_count;
	float samples_temperature[APP_DATA_MAX_SAMPLES];
	float samples_humidity[APP_DATA_MAX_SAMPLES];

	int measurement_count;
	struct app_data_hygro_measurement measurements[APP_DATA_MAX_MEASUREMENTS];

	int64_t timestamp;
};

#endif /* defined(FEATURE_HARDWARE_CHESTER_S2) */

#if defined(FEATURE_SUBSYSTEM_DS18B20)

struct app_data_w1_therm_measurement {
	struct ctr_data_aggreg temperature;
};

struct app_data_w1_therm_sensor {
	uint64_t serial_number;

	float last_sample_temperature;

	int sample_count;
	float samples_temperature[APP_DATA_MAX_SAMPLES];

	int measurement_count;
	struct app_data_w1_therm_measurement measurements[APP_DATA_MAX_MEASUREMENTS];
};

struct app_data_w1_therm {
	struct app_data_w1_therm_sensor sensor[APP_DATA_W1_THERM_COUNT];

	int64_t timestamp;
	atomic_t sample;
	atomic_t aggreg;
};

#endif /* defined(FEATURE_SUBSYSTEM_DS18B20) */

#if defined(FEATURE_SUBSYSTEM_SOIL_SENSOR)

struct app_data_soil_sensor_measurement {
	struct ctr_data_aggreg temperature;
	struct ctr_data_aggreg moisture;
};

struct app_data_soil_sensor_sensor {
	uint64_t serial_number;

	int sample_count;
	float samples_temperature[APP_DATA_MAX_SAMPLES];
	float samples_moisture[APP_DATA_MAX_SAMPLES];
	float last_temperature;
	float last_moisture;

	int measurement_count;
	struct app_data_soil_sensor_measurement measurements[APP_DATA_MAX_MEASUREMENTS];
};

struct app_data_soil_sensor {
	struct app_data_soil_sensor_sensor sensor[APP_DATA_SOIL_SENSOR_COUNT];
	int64_t timestamp;
};

#endif /* defined(FEATURE_SUBSYSTEM_SOIL_SENSOR) */

#if defined(FEATURE_SUBSYSTEM_BLE_TAG)

struct app_data_ble_tag_measurement {
	struct ctr_data_aggreg temperature;
	struct ctr_data_aggreg humidity;
};

struct app_data_ble_tag_sensor {
	uint8_t addr[BT_ADDR_SIZE];

	int8_t rssi;
	float voltage;

	float last_sample_temperature;
	float last_sample_humidity;

	int sample_count;
	float samples_temperature[APP_DATA_MAX_SAMPLES];
	float samples_humidity[APP_DATA_MAX_SAMPLES];

	int measurement_count;
	struct app_data_ble_tag_measurement measurements[APP_DATA_MAX_BLE_TAG_MEASUREMENTS];
};

struct app_data_ble_tag {
	struct app_data_ble_tag_sensor sensor[CTR_BLE_TAG_COUNT];

	int64_t timestamp;
	atomic_t sample;
	atomic_t aggreg;
};

#endif /* defined(FEATURE_SUBSYSTEM_BLE_TAG) */

#if defined(CONFIG_FEATURE_CHESTER_APP_LAMBRECHT)

#define LAMBRECHT_EXPAND_ITEM(sensor, name)                                                        \
	float name##_samples[APP_DATA_MAX_SAMPLES];                                                \
	float name##_measurements[APP_DATA_MAX_MEASUREMENTS];

struct app_data_lambrecht {
	int sample_count;
	int measurement_count;

	float wind_speed_samples[APP_DATA_MAX_SAMPLES];
	struct ctr_data_aggreg wind_speed_measurements[APP_DATA_MAX_MEASUREMENTS];

	float wind_direction_samples[APP_DATA_MAX_SAMPLES];
	struct ctr_data_aggreg wind_direction_measurements[APP_DATA_MAX_MEASUREMENTS];

	float temperature_samples[APP_DATA_MAX_SAMPLES];
	struct ctr_data_aggreg temperature_measurements[APP_DATA_MAX_MEASUREMENTS];

	float humidity_samples[APP_DATA_MAX_SAMPLES];
	struct ctr_data_aggreg humidity_measurements[APP_DATA_MAX_MEASUREMENTS];

	float dew_point_samples[APP_DATA_MAX_SAMPLES];
	struct ctr_data_aggreg dew_point_measurements[APP_DATA_MAX_MEASUREMENTS];

	float pressure_samples[APP_DATA_MAX_SAMPLES];
	struct ctr_data_aggreg pressure_measurements[APP_DATA_MAX_MEASUREMENTS];

	float rainfall_total_samples[APP_DATA_MAX_SAMPLES];
	struct ctr_data_aggreg rainfall_total_measurements[APP_DATA_MAX_MEASUREMENTS];
	float rainfall_total_sum;

	float rainfall_intensity_samples[APP_DATA_MAX_SAMPLES];
	struct ctr_data_aggreg rainfall_intensity_measurements[APP_DATA_MAX_MEASUREMENTS];

	float illuminance_samples[APP_DATA_MAX_SAMPLES];
	struct ctr_data_aggreg illuminance_measurements[APP_DATA_MAX_MEASUREMENTS];

	int64_t timestamp;
};
#undef LAMBRECHT_EXPAND_ITEM

#endif /* defined(CONFIG_FEATURE_CHESTER_APP_LAMBRECHT) */

#if defined(CONFIG_APP_PYRANOMETER)

struct app_data_pyranometer {
	int sample_count;
	int measurement_count;

	float irradiance_1_samples[APP_DATA_MAX_SAMPLES];
	struct ctr_data_aggreg irradiance_1_measurements[APP_DATA_MAX_MEASUREMENTS];

	float irradiance_2_samples[APP_DATA_MAX_SAMPLES];
	struct ctr_data_aggreg irradiance_2_measurements[APP_DATA_MAX_MEASUREMENTS];

	int64_t timestamp;
};

#endif /* defined(CONFIG_APP_PYRANOMETER) */

struct app_data {
	float therm_temperature;
	float accel_acceleration_x;
	float accel_acceleration_y;
	float accel_acceleration_z;
	int accel_orientation;

#if defined(FEATURE_HARDWARE_CHESTER_METEO_M)
	struct app_data_sensecap sensecap;
	struct app_data_cubic_pm cubic_pm;
#endif /* defined(FEATURE_HARDWARE_CHESTER_X2_MODBUS_A ) ||                                        \
	  defined(FEATURE_HARDWARE_CHESTER_METEO_M) */

#if defined(FEATURE_HARDWARE_CHESTER_METEO_A) || defined(FEATURE_HARDWARE_CHESTER_METEO_B)
	struct app_data_meteo meteo;
#endif /* defined(FEATURE_HARDWARE_CHESTER_METEO_A) || defined(FEATURE_HARDWARE_CHESTER_METEO_B)   \
	*/

#if defined(FEATURE_HARDWARE_CHESTER_BAROMETER_TAG)
	struct app_data_barometer barometer;
#endif /* defined(FEATURE_HARDWARE_CHESTER_BAROMETER_TAG) */

#if defined(FEATURE_HARDWARE_CHESTER_S2)
	struct app_data_hygro hygro;
#endif /* defined(FEATURE_HARDWARE_CHESTER_S2) */

#if defined(FEATURE_SUBSYSTEM_DS18B20)
	struct app_data_w1_therm w1_therm;
#endif /* defined(FEATURE_SUBSYSTEM_DS18B20) */

#if defined(FEATURE_SUBSYSTEM_SOIL_SENSOR)
	struct app_data_soil_sensor soil_sensor;
#endif /* defined(FEATURE_SUBSYSTEM_SOIL_SENSOR) */

#if defined(FEATURE_SUBSYSTEM_BLE_TAG)
	struct app_data_ble_tag ble_tag;
#endif /* defined(FEATURE_SUBSYSTEM_BLE_TAG) */

#if defined(CONFIG_FEATURE_CHESTER_APP_LAMBRECHT)
	struct app_data_lambrecht lambrecht;
#endif /* defined(CONFIG_FEATURE_CHESTER_APP_LAMBRECHT) */

#if defined(CONFIG_APP_PYRANOMETER)
	struct app_data_pyranometer pyranometer;
#endif /* defined(CONFIG_APP_PYRANOMETER) */
};

extern struct app_data g_app_data;

void app_data_add_sample_float(struct ctr_data_aggreg *aggreg_ptr, int sample_count, float sample);

int app_data_init(void);
void app_data_lock(void);
void app_data_unlock(void);

#ifdef __cplusplus
}
#endif

#endif /* APP_DATA_H_ */
```

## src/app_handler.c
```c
/*
 * Copyright (c) 2024 HARDWARIO a.s.
 *
 * SPDX-License-Identifier: LicenseRef-HARDWARIO-5-Clause
 */

#include "app_config.h"
#include "app_data.h"
#include "app_handler.h"
#include "app_init.h"
#include "app_work.h"

/* CHESTER includes */
#include <chester/ctr_led.h>
#include <chester/ctr_lte.h>
#include <chester/ctr_power.h>
#include <chester/ctr_rtc.h>
#include <chester/ctr_lrw.h>

/* Zephyr includes */
#include <zephyr/kernel.h>
#include <zephyr/logging/log.h>
#include <zephyr/sys/reboot.h>

/* Standard includes */
#include <math.h>
#include <stdbool.h>
#include <stddef.h>

LOG_MODULE_REGISTER(app_handler, LOG_LEVEL_DBG);

#if defined(FEATURE_SUBSYSTEM_LRW)
void app_handler_lrw(enum ctr_lrw_event event, union ctr_lrw_event_data *data, void *param)
{
	int ret;

	switch (event) {
	case CTR_LRW_EVENT_FAILURE:
		LOG_INF("Event `CTR_LRW_EVENT_FAILURE`");
		ret = ctr_lrw_start(NULL);
		if (ret) {
			LOG_ERR("Call `ctr_lrw_start` failed: %d", ret);
		}
		break;
	case CTR_LRW_EVENT_START_OK:
		LOG_INF("Event `CTR_LRW_EVENT_START_OK`");
		ret = ctr_lrw_join(NULL);
		if (ret) {
			LOG_ERR("Call `ctr_lrw_join` failed: %d", ret);
		}
		break;
	case CTR_LRW_EVENT_START_ERR:
		LOG_INF("Event `CTR_LRW_EVENT_START_ERR`");
		break;
	case CTR_LRW_EVENT_JOIN_OK:
		LOG_INF("Event `CTR_LRW_EVENT_JOIN_OK`");
		break;
	case CTR_LRW_EVENT_JOIN_ERR:
		LOG_INF("Event `CTR_LRW_EVENT_JOIN_ERR`");
		break;
	case CTR_LRW_EVENT_SEND_OK:
		LOG_INF("Event `CTR_LRW_EVENT_SEND_OK`");
		break;
	case CTR_LRW_EVENT_SEND_ERR:
		LOG_INF("Event `CTR_LRW_EVENT_SEND_ERR`");
		break;
	default:
		LOG_WRN("Unknown event: %d", event);
	}
}
#endif /* defined(FEATURE_SUBSYSTEM_LRW) */

#if defined(FEATURE_SUBSYSTEM_POWER)
void app_handler_power_event(const struct ctr_power_event *event, void *user_data)
{
	LOG_INF("Power line: %d", (int)event->line);

	/*
	 * `ctr_power` already filters on `report-connected`/`report-disconnected` before
	 * invoking this callback, so no further gating is needed here.
	 */
	app_work_send_with_rate_limit();
}
#endif /* defined(FEATURE_SUBSYSTEM_POWER) */

#if defined(FEATURE_SUBSYSTEM_BUTTON)

static void app_load_timer_handler(struct k_timer *timer)
{
	ctr_led_set(CTR_LED_CHANNEL_LOAD, 0);
}

K_TIMER_DEFINE(app_load_timer, app_load_timer_handler, NULL);

void app_handler_ctr_button(enum ctr_button_channel chan, enum ctr_button_event ev, int val,
			    void *user_data)
{
	int ret;

	if (chan != CTR_BUTTON_CHANNEL_INT) {
		return;
	}

	if (ev == CTR_BUTTON_EVENT_CLICK) {
		for (int i = 0; i < val; i++) {
			ret = ctr_led_set(CTR_LED_CHANNEL_Y, true);
			if (ret) {
				LOG_ERR("Call `ctr_led_set` failed: %d", ret);
				return;
			}

			k_sleep(K_MSEC(50));
			ret = ctr_led_set(CTR_LED_CHANNEL_Y, false);
			if (ret) {
				LOG_ERR("Call `ctr_led_set` failed: %d", ret);
				return;
			}

			k_sleep(K_MSEC(200));
		}

		switch (val) {
		case 1:
			app_work_send();
			break;
		case 2:
			app_work_sample();
			break;
		case 3:
			app_work_sample();
			app_work_aggreg();
			app_work_send();
			break;
		case 4:
			sys_reboot(SYS_REBOOT_COLD);
			break;
		case 5:
			ret = ctr_led_set(CTR_LED_CHANNEL_LOAD, 1);
			if (ret) {
				LOG_ERR("Call `ctr_led_set` failed: %d", ret);
				return;
			}
			k_timer_start(&app_load_timer, K_MINUTES(2), K_FOREVER);
			break;
		}
	}
}

#endif /* defined(FEATURE_SUBSYSTEM_BUTTON) */
```

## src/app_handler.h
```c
/*
 * Copyright (c) 2024 HARDWARIO a.s.
 *
 * SPDX-License-Identifier: LicenseRef-HARDWARIO-5-Clause
 */

#ifndef APP_HANDLER_H_
#define APP_HANDLER_H_

#include "feature.h"

/* CHESTER includes */
#include <chester/ctr_button.h>
#include <chester/ctr_edge.h>
#include <chester/ctr_lte.h>
#include <chester/ctr_power.h>
#include <chester/drivers/ctr_s1.h>
#include <chester/ctr_lrw.h>

#ifdef __cplusplus
extern "C" {
#endif

#if defined(FEATURE_SUBSYSTEM_LTE)
void app_handler_lte(enum ctr_lte_event event, union ctr_lte_event_data *data, void *param);
#endif /* defined(FEATURE_SUBSYSTEM_LTE) */

#if defined(FEATURE_SUBSYSTEM_LRW)
void app_handler_lrw(enum ctr_lrw_event event, union ctr_lrw_event_data *data, void *param);
#endif /* defined(FEATURE_SUBSYSTEM_LRW) */

#if defined(FEATURE_HARDWARE_CHESTER_METEO_A) || defined(FEATURE_HARDWARE_CHESTER_METEO_B)
void app_handler_edge_wind_speed_callback(struct ctr_edge *edge, enum ctr_edge_event edge_event,
					  void *user_data);
void app_handler_edge_rainfall_callback(struct ctr_edge *edge, enum ctr_edge_event edge_event,
					void *user_data);
#endif /* defined(FEATURE_HARDWARE_CHESTER_METEO_A) || defined(FEATURE_HARDWARE_CHESTER_METEO_B)   \
	*/

#if defined(FEATURE_SUBSYSTEM_POWER)
void app_handler_power_event(const struct ctr_power_event *event, void *user_data);
#endif /* defined(FEATURE_SUBSYSTEM_POWER) */

#if defined(FEATURE_SUBSYSTEM_BUTTON)
void app_handler_ctr_button(enum ctr_button_channel chan, enum ctr_button_event ev, int val,
			    void *user_data);
#endif /* defined(FEATURE_SUBSYSTEM_BUTTON) */

#ifdef __cplusplus
}
#endif

#endif /* APP_HANDLER_H_ */
```
